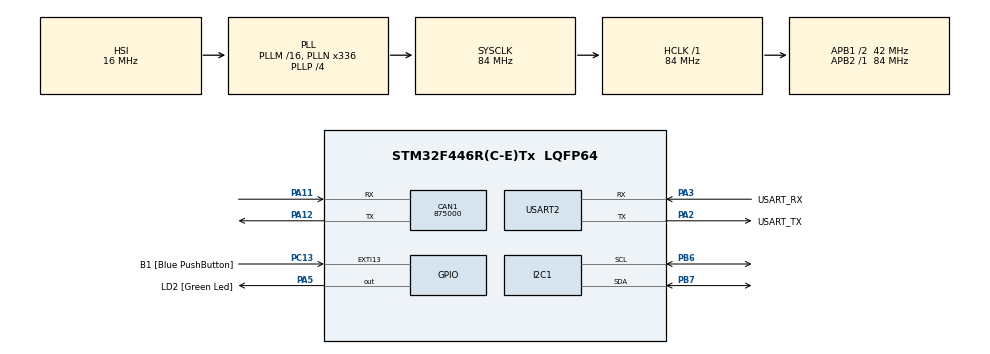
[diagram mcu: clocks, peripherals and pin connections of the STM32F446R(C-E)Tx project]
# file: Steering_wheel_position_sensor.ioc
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CAN1.CalculateBaudRate=875000
CAN1.CalculateTimeBit=1142
CAN1.CalculateTimeQuantum=380.95238095238096
Mcu.Family=STM32F4
Mcu.Name=STM32F446R(C-E)Tx
Mcu.Package=LQFP64
NVIC.PriorityGroup=NVIC_PRIORITYGROUP_0
NVIC.TIM2_IRQn=true\:0\:0\:false\:false\:true\:true\:true\:true
PA11.Mode=CAN_Activate
PA11.Signal=CAN1_RX
PA12.Mode=CAN_Activate
PA12.Signal=CAN1_TX
PA13.GPIO_Label=TMS
PA13.Mode=Serial_Wire
PA13.Signal=SYS_JTMS-SWDIO
PA14.GPIO_Label=TCK
PA14.Mode=Serial_Wire
PA14.Signal=SYS_JTCK-SWCLK
PA2.GPIO_Label=USART_TX
PA2.Mode=Asynchronous
PA2.Signal=USART2_TX
PA3.GPIO_Label=USART_RX
PA3.Mode=Asynchronous
PA3.Signal=USART2_RX
PA5.GPIO_Label=LD2 [Green Led]
PA5.Signal=GPIO_Output
PB3.GPIO_Label=SWO
PB3.Signal=SYS_JTDO-SWO
PB6.Mode=I2C
PB6.Signal=I2C1_SCL
PB7.Mode=I2C
PB7.Signal=I2C1_SDA
PC13.GPIO_Label=B1 [Blue PushButton]
PC13.GPIO_ModeDefaultEXTI=GPIO_MODE_IT_FALLING
PC13.Signal=GPXTI13
PC14-OSC32_IN.Mode=LSE-External-Oscillator
PC14-OSC32_IN.Signal=RCC_OSC32_IN
PC15-OSC32_OUT.Mode=LSE-External-Oscillator
PC15-OSC32_OUT.Signal=RCC_OSC32_OUT
PH0-OSC_IN.Mode=HSE-External-Oscillator
PH0-OSC_IN.Signal=RCC_OSC_IN
PH1-OSC_OUT.Mode=HSE-External-Oscillator
PH1-OSC_OUT.Signal=RCC_OSC_OUT
ProjectManager.HeapSize=0x200
ProjectManager.StackSize=0x400
ProjectManager.TargetToolchain=STM32CubeIDE
RCC.48MHZClocksFreq_Value=84000000
RCC.AHBFreq_Value=84000000
RCC.APB1CLKDivider=RCC_HCLK_DIV2
RCC.APB1Freq_Value=42000000
RCC.APB1TimFreq_Value=84000000
RCC.APB2Freq_Value=84000000
RCC.APB2TimFreq_Value=84000000
RCC.CortexFreq_Value=84000000
RCC.FLatency-AdvancedSettings=FLASH_LATENCY_2
RCC.HCLKFreq_Value=84000000
RCC.HSE_VALUE=8000000
RCC.HSI_VALUE=16000000
RCC.PLLN=336
RCC.PLLP=RCC_PLLP_DIV4
RCC.SYSCLKFreq_VALUE=84000000
RCC.SYSCLKSource=RCC_SYSCLKSOURCE_PLLCLK
RCC.USBFreq_Value=168000000
RCC.VCOOutputFreq_Value=336000000
TIM2.AutoReloadPreload=TIM_AUTORELOAD_PRELOAD_ENABLE
TIM2.Period=8400
TIM2.Prescaler=1000
USART2.VirtualMode=VM_ASYNC
VP_TIM2_VS_ClockSourceINT.Mode=Internal
board=NUCLEO-F446RE

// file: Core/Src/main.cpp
/* USER CODE BEGIN Header */
/**
  ******************************************************************************
  * @file           : main.c
  * @brief          : Main program body
  ******************************************************************************
  * @attention
  *
  * Copyright (c) 2022 STMicroelectronics.
  * All rights reserved.
  *
  * This software is licensed under terms that can be found in the LICENSE file
  * in the root directory of this software component.
  * If no LICENSE file comes with this software, it is provided AS-IS.
  *
  ******************************************************************************
  */
/* USER CODE END Header */
#include "main.h"
#include <stdio.h>
#include <string.h>
#include "PUTM_EV_CAN_LIBRARY/lib/can_interface.hpp"

 CAN_HandleTypeDef hcan1;

I2C_HandleTypeDef hi2c1;

TIM_HandleTypeDef htim2;

UART_HandleTypeDef huart2;

void SystemClock_Config(void);
static void MX_GPIO_Init(void);
static void MX_USART2_UART_Init(void);
static void MX_I2C1_Init(void);
static void MX_CAN1_Init(void);
static void MX_TIM2_Init(void);

/* USER CODE BEGIN 0 */
/*
void SystemClock_Config(void);
static void MX_GPIO_Init(void);
static void MX_USART2_UART_Init(void);
static void MX_I2C1_Init(void);
*/
/* USER CODE BEGIN PFP */

/* USER CODE END PFP */

/* Private user code ---------------------------------------------------------*/
/* USER CODE BEGIN 0 */

int getAngle(uint8_t AS5601_ADR, uint8_t TxData1, uint8_t TxData2, uint8_t LB_DATA, uint8_t HB_DATA, uint16_t COM_DATA, uint8_t DELAY){
	HAL_StatusTypeDef ret;

	// Request lower byte
	ret = HAL_I2C_Master_Transmit(&hi2c1, AS5601_ADR, &TxData1, 1, DELAY);
			if (ret != HAL_OK){
				Error_Handler();

			} else {
	ret = HAL_I2C_Master_Receive(&hi2c1, AS5601_ADR, &LB_DATA, 1, DELAY);
			if (ret != HAL_OK){
				Error_Handler();
			}
		  }

	// Request higher byte
	ret = HAL_I2C_Master_Transmit(&hi2c1, AS5601_ADR, &TxData2, 1, DELAY);
		  	if (ret != HAL_OK){
		  		Error_Handler();

		  } else {
	ret = HAL_I2C_Master_Receive(&hi2c1, AS5601_ADR, &HB_DATA, 1, DELAY);
			if (ret != HAL_OK){
				Error_Handler();
			}
		  }
	//Combine bytes
	COM_DATA = HB_DATA << 8;
	COM_DATA = COM_DATA | LB_DATA;

	return COM_DATA;

}

void HAL_TIM_PeriodElapsedCallback(TIM_HandleTypeDef* htim)
{

}
/* USER CODE END 0 */

int main(void)
{

  /* MCU Configuration--------------------------------------------------------*/

  /* Reset of all peripherals, Initializes the Flash interface and the Systick. */
  HAL_Init();

  /* Configure the system clock */
  SystemClock_Config();

  /* Initialize all configured peripherals */
  MX_GPIO_Init();
  MX_USART2_UART_Init();
  MX_I2C1_Init();
  MX_CAN1_Init();
  MX_TIM2_Init();
  /* USER CODE BEGIN 2 */
  uint8_t buf[12];
  uint16_t angle;

  static const uint8_t AS5601_ADR = 0x36 << 1;
  uint8_t TxData1 = 0x0D;
  uint8_t TxData2 = 0x0C;

  uint8_t LB_DATA;
  uint8_t HB_DATA;
  uint16_t COM_DATA;
  uint8_t DELAY = 10;

  HAL_TIM_Base_Start_IT(&htim2);
  //uint8_t frameCounter = 0;

  /* USER CODE END 2 */

  /* Infinite loop */
  /* USER CODE BEGIN WHILE */
  while (1)
  {
/*
	  angle = getAngle(AS5601_ADR, TxData1, TxData2, LB_DATA, HB_DATA, COM_DATA, DELAY);

	  // Send out buffer
      sprintf((char*)buf, "%u \r\n", ((unsigned int)angle));
	  HAL_UART_Transmit(&huart2, buf, strlen((char*)buf), HAL_MAX_DELAY);
*/
/*
	  PUTM_CAN::SWPS_main swpsData{
	  	  .steeringAngle = angle,
	  };
	  PUTM_CAN::Can_tx_message <typeof(swpsData)> swpsFrame  (swpsData,PUTM_CAN::can_tx_header_SWPS_MAIN);
	  auto status = swpsFrame.send(hcan1);
	  if (status != HAL_StatusTypeDef::HAL_OK){
	  	  Error_Handler();
	  }
*/

    /* USER CODE END WHILE */

  }
}

void SystemClock_Config(void)
{
  RCC_OscInitTypeDef RCC_OscInitStruct = {0};
  RCC_ClkInitTypeDef RCC_ClkInitStruct = {0};

  /** Configure the main internal regulator output voltage
  */
  __HAL_RCC_PWR_CLK_ENABLE();
  __HAL_PWR_VOLTAGESCALING_CONFIG(PWR_REGULATOR_VOLTAGE_SCALE3);

  /** Initializes the RCC Oscillators according to the specified parameters
  * in the RCC_OscInitTypeDef structure.
  */
  RCC_OscInitStruct.OscillatorType = RCC_OSCILLATORTYPE_HSI;
  RCC_OscInitStruct.HSIState = RCC_HSI_ON;
  RCC_OscInitStruct.HSICalibrationValue = RCC_HSICALIBRATION_DEFAULT;
  RCC_OscInitStruct.PLL.PLLState = RCC_PLL_ON;
  RCC_OscInitStruct.PLL.PLLSource = RCC_PLLSOURCE_HSI;
  RCC_OscInitStruct.PLL.PLLM = 16;
  RCC_OscInitStruct.PLL.PLLN = 336;
  RCC_OscInitStruct.PLL.PLLP = RCC_PLLP_DIV4;
  RCC_OscInitStruct.PLL.PLLQ = 2;
  RCC_OscInitStruct.PLL.PLLR = 2;
  if (HAL_RCC_OscConfig(&RCC_OscInitStruct) != HAL_OK)
  {
    Error_Handler();
  }

  /** Initializes the CPU, AHB and APB buses clocks
  */
  RCC_ClkInitStruct.ClockType = RCC_CLOCKTYPE_HCLK|RCC_CLOCKTYPE_SYSCLK
                              |RCC_CLOCKTYPE_PCLK1|RCC_CLOCKTYPE_PCLK2;
  RCC_ClkInitStruct.SYSCLKSource = RCC_SYSCLKSOURCE_PLLCLK;
  RCC_ClkInitStruct.AHBCLKDivider = RCC_SYSCLK_DIV1;
  RCC_ClkInitStruct.APB1CLKDivider = RCC_HCLK_DIV2;
  RCC_ClkInitStruct.APB2CLKDivider = RCC_HCLK_DIV1;

  if (HAL_RCC_ClockConfig(&RCC_ClkInitStruct, FLASH_LATENCY_2) != HAL_OK)
  {
    Error_Handler();
  }
}

static void MX_CAN1_Init(void)
{

  hcan1.Instance = CAN1;
  hcan1.Init.Prescaler = 16;
  hcan1.Init.Mode = CAN_MODE_NORMAL;
  hcan1.Init.SyncJumpWidth = CAN_SJW_1TQ;
  hcan1.Init.TimeSeg1 = CAN_BS1_1TQ;
  hcan1.Init.TimeSeg2 = CAN_BS2_1TQ;
  hcan1.Init.TimeTriggeredMode = DISABLE;
  hcan1.Init.AutoBusOff = DISABLE;
  hcan1.Init.AutoWakeUp = DISABLE;
  hcan1.Init.AutoRetransmission = DISABLE;
  hcan1.Init.ReceiveFifoLocked = DISABLE;
  hcan1.Init.TransmitFifoPriority = DISABLE;
  if (HAL_CAN_Init(&hcan1) != HAL_OK)
  {
    Error_Handler();
  }

}

static void MX_I2C1_Init(void)
{

  hi2c1.Instance = I2C1;
  hi2c1.Init.ClockSpeed = 100000;
  hi2c1.Init.DutyCycle = I2C_DUTYCYCLE_2;
  hi2c1.Init.OwnAddress1 = 0;
  hi2c1.Init.AddressingMode = I2C_ADDRESSINGMODE_7BIT;
  hi2c1.Init.DualAddressMode = I2C_DUALADDRESS_DISABLE;
  hi2c1.Init.OwnAddress2 = 0;
  hi2c1.Init.GeneralCallMode = I2C_GENERALCALL_DISABLE;
  hi2c1.Init.NoStretchMode = I2C_NOSTRETCH_DISABLE;
  if (HAL_I2C_Init(&hi2c1) != HAL_OK)
  {
    Error_Handler();
  }

}

static void MX_TIM2_Init(void)
{

  TIM_ClockConfigTypeDef sClockSourceConfig = {0};
  TIM_MasterConfigTypeDef sMasterConfig = {0};

  htim2.Instance = TIM2;
  htim2.Init.Prescaler = 1000;
  htim2.Init.CounterMode = TIM_COUNTERMODE_UP;
  htim2.Init.Period = 8400;
  htim2.Init.ClockDivision = TIM_CLOCKDIVISION_DIV1;
  htim2.Init.AutoReloadPreload = TIM_AUTORELOAD_PRELOAD_ENABLE;
  if (HAL_TIM_Base_Init(&htim2) != HAL_OK)
  {
    Error_Handler();
  }
  sClockSourceConfig.ClockSource = TIM_CLOCKSOURCE_INTERNAL;
  if (HAL_TIM_ConfigClockSource(&htim2, &sClockSourceConfig) != HAL_OK)
  {
    Error_Handler();
  }
  sMasterConfig.MasterOutputTrigger = TIM_TRGO_RESET;
  sMasterConfig.MasterSlaveMode = TIM_MASTERSLAVEMODE_DISABLE;
  if (HAL_TIMEx_MasterConfigSynchronization(&htim2, &sMasterConfig) != HAL_OK)
  {
    Error_Handler();
  }

}

static void MX_USART2_UART_Init(void)
{

  huart2.Instance = USART2;
  huart2.Init.BaudRate = 115200;
  huart2.Init.WordLength = UART_WORDLENGTH_8B;
  huart2.Init.StopBits = UART_STOPBITS_1;
  huart2.Init.Parity = UART_PARITY_NONE;
  huart2.Init.Mode = UART_MODE_TX_RX;
  huart2.Init.HwFlowCtl = UART_HWCONTROL_NONE;
  huart2.Init.OverSampling = UART_OVERSAMPLING_16;
  if (HAL_UART_Init(&huart2) != HAL_OK)
  {
    Error_Handler();
  }

}

static void MX_GPIO_Init(void)
{
  GPIO_InitTypeDef GPIO_InitStruct = {0};

  /* GPIO Ports Clock Enable */
  __HAL_RCC_GPIOC_CLK_ENABLE();
  __HAL_RCC_GPIOH_CLK_ENABLE();
  __HAL_RCC_GPIOA_CLK_ENABLE();
  __HAL_RCC_GPIOB_CLK_ENABLE();

  /*Configure GPIO pin Output Level */
  HAL_GPIO_WritePin(LD2_GPIO_Port, LD2_Pin, GPIO_PIN_RESET);

  /*Configure GPIO pin : B1_Pin */
  GPIO_InitStruct.Pin = B1_Pin;
  GPIO_InitStruct.Mode = GPIO_MODE_IT_FALLING;
  GPIO_InitStruct.Pull = GPIO_NOPULL;
  HAL_GPIO_Init(B1_GPIO_Port, &GPIO_InitStruct);

  /*Configure GPIO pin : LD2_Pin */
  GPIO_InitStruct.Pin = LD2_Pin;
  GPIO_InitStruct.Mode = GPIO_MODE_OUTPUT_PP;
  GPIO_InitStruct.Pull = GPIO_NOPULL;
  GPIO_InitStruct.Speed = GPIO_SPEED_FREQ_LOW;
  HAL_GPIO_Init(LD2_GPIO_Port, &GPIO_InitStruct);

}

/* USER CODE BEGIN 4 */
/*

/* USER CODE END 4 */

void Error_Handler(void)
{
  __disable_irq();
  while (1)
  {
  }
}
